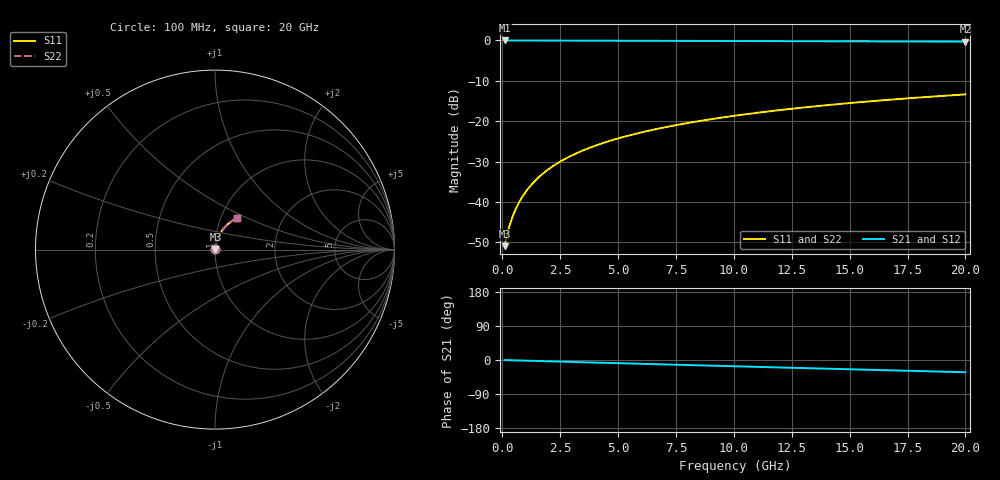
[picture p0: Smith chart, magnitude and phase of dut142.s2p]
! Touchstone file exported from HFSS 2026.1.0
!  File:  C:/ffzhzh/LocalFiles/Ansys_Project_Files/temp_train_TMRDL_142_1782982965_6248.aedt
!  Generated:  05:03:58 PM Jul  2, 2026
!  Design:  TMRDL
!  Project:  temp_train_TMRDL_142_1782982965_6248
! Variables:
!  h_bsmrdl = 2um
!  h_ox = 20um
!  h_rdl = 5um
!  h_sub = 80um
!  h_tmrdl = 4.82um
!  h_tsv = 80um
!  h_via = 3um
!  l_bsmrdl = 300um
!  l_sub = 926.84um
!  l_tmrdl = 526.84um
!  m_sub = 200um
!  pitch = 30.01um
!  r_tsv = 6um
!  s_tmrdl = 10um
!  w_bsmrdl = 18um
!  w_sub = 500um
!  w_tmrdl = 17.01um
!  x_tsv_center1 = 535.345um
!  x_tsv_center2 = 853.345um
!  x_tsv_center3 = 1397.195um
!  x_tsv_center4 = 1715.195um
!  x_tsv_center5 = 2259.045um
!  x_tsv_center6 = 2577.045um
# GHz S MA R 50.000000
! Terminal data exported
! Port[1] = TM_RDL1_1_T1
! Port[2] = TM_RDL1_1_T2
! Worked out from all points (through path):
!   200 points, 100 MHz to 20 GHz, reference 50 ohm
!   highest |S21| = -0.02 dB at 100 MHz (marker M1); lowest = -0.3 dB at 20 GHz (marker M2)
!   group delay of S21, straight-line fit = 4.48 ps
!   lowest |S11| = -50.9 dB at 100 MHz (marker M3), VSWR 1.01, Z = 50.2 + j0.148 ohm
!   |S11| at or under -10 dB: start of sweep to end of sweep
!   |S22| runs from -50.9 to -13.4 dB; largest |S21 - S12| = 2.6e-15
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0.1  0.002842 31.2  0.9976 -0.2  0.9976 -0.2  0.002842 31.2
! Gamma 0 0 0 0
! Port Impedance 50 0 50 0
0.2  0.003849 47.6  0.9974 -0.4  0.9974 -0.4  0.003849 47.6
0.3  0.004957 56.2  0.9973 -0.5  0.9973 -0.5  0.004957 56.2
0.4  0.006089 61.7  0.9972 -0.7  0.9972 -0.7  0.006089 61.7
0.5  0.00724 65.5  0.9971 -0.9  0.9971 -0.9  0.00724 65.5
0.6  0.008411 68.3  0.997 -1.0  0.997 -1.0  0.008411 68.3
0.8  0.0108 72.2  0.9969 -1.4  0.9969 -1.4  0.0108 72.2
1  0.01322 74.5  0.9968 -1.7  0.9968 -1.7  0.01322 74.5
1.2  0.01567 76.0  0.9966 -2.1  0.9966 -2.1  0.01567 76.0
1.4  0.01813 77.0  0.9965 -2.4  0.9965 -2.4  0.01813 77.0
1.7  0.02183 77.9  0.9963 -2.9  0.9963 -2.9  0.02183 77.9
2.2  0.02797 78.4  0.9958 -3.8  0.9958 -3.8  0.02797 78.4
2.8  0.03526 78.4  0.9952 -4.8  0.9952 -4.8  0.03526 78.4
3.5  0.04366 77.8  0.9943 -5.9  0.9943 -5.9  0.04366 77.8
4.2  0.05192 77.1  0.9934 -7.1  0.9934 -7.1  0.05192 77.1
5  0.06121 76.1  0.9923 -8.4  0.9923 -8.4  0.06121 76.1
6.8  0.0816 73.6  0.9896 -11.4  0.9896 -11.4  0.0816 73.7
8.3  0.09813 71.5  0.9872 -13.8  0.9872 -13.8  0.09813 71.6
10.1  0.1175 69.0  0.9842 -16.7  0.9842 -16.7  0.1175 69.0
13.4  0.1517 64.2  0.9783 -22.0  0.9783 -22.0  0.1517 64.2
16.7  0.1841 59.4  0.9717 -27.2  0.9717 -27.2  0.1841 59.4
20  0.2144 54.5  0.9647 -32.3  0.9647 -32.3  0.2144 54.6
